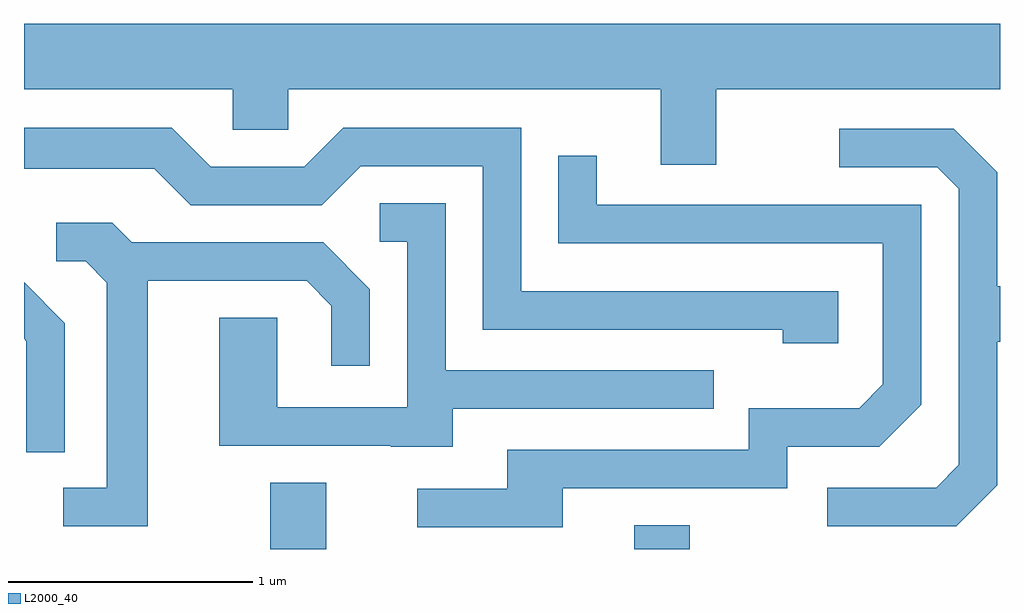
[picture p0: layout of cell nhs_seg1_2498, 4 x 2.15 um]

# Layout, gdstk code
import gdstk
lib = gdstk.Library(unit=1e-6, precision=1e-09)
def R(c, l, rs):  # rectangles x0, y0, x1, y1
    for r in rs: c.add(gdstk.rectangle(r[:2], r[2:], *l))
def P(c, l, *ps):  # polygons
    for p in ps: c.add(gdstk.Polygon(p, *l))
L2000_40 = (2000, 40)

nhs_seg1_2498 = lib.new_cell('nhs_seg1_2498')
R(nhs_seg1_2498, L2000_40, [(262.621,877.712,262.849,877.984), (264.111,877.712,264.339,877.809)])
P(nhs_seg1_2498, L2000_40, [(264.449,879.596),(265.611,879.596),(265.611,879.864),(261.611,879.864),(261.611,879.596),(262.466,879.596),(262.466,879.431),(262.694,879.431),(262.694,879.596),(264.221,879.596),(264.221,879.286),(264.449,879.286)],
  [(264.949,878.769),(263.649,878.769),(263.649,879.439),(262.919,879.439),(262.759,879.279),(262.377,879.279),(262.217,879.439),(261.611,879.439),(261.611,879.271),(262.144,879.271),(262.294,879.121),(262.832,879.121),(262.992,879.281),(263.491,879.281),(263.491,878.611),(264.721,878.611),(264.721,878.556),(264.949,878.556)],
  [(265.599,877.974),(265.599,878.561),(265.611,878.561),(265.611,878.789),(265.599,878.789),(265.599,879.257),(265.422,879.434),(264.953,879.434),(264.953,879.276),(265.354,879.276),(265.441,879.189),(265.441,878.057),(265.349,877.964),(264.903,877.964),(264.903,877.806),(265.432,877.806)],
  [(263.819,877.961),(264.739,877.961),(264.739,878.131),(265.117,878.131),(265.289,878.304),(265.289,879.124),(263.959,879.124),(263.959,879.323),(263.801,879.323),(263.801,878.966),(265.131,878.966),(265.131,878.387),(265.034,878.289),(264.581,878.289),(264.581,878.119),(263.591,878.119),(263.591,877.959),(263.223,877.959),(263.223,877.801),(263.819,877.801)],
  [(263.369,878.286),(264.438,878.286),(264.438,878.444),(263.339,878.444),(263.339,879.129),(263.068,879.129),(263.068,878.971),(263.181,878.971),(263.181,878.294),(262.649,878.294),(262.649,878.659),(262.411,878.659),(262.411,878.136),(263.115,878.136),(263.115,878.131),(263.369,878.131)],
  [(262.119,878.811),(262.769,878.811),(262.871,878.709),(262.871,878.463),(263.029,878.463),(263.029,878.777),(262.837,878.969),(262.052,878.969),(261.972,879.049),(261.743,879.049),(261.743,878.891),(261.864,878.891),(261.951,878.804),(261.951,877.964),(261.772,877.964),(261.772,877.806),(262.119,877.806)],
  [(261.779,878.637),(261.611,878.805),(261.611,878.574),(261.621,878.564),(261.621,878.108),(261.779,878.108)])

lib.write_gds('nhs_seg1_2498.gds')
